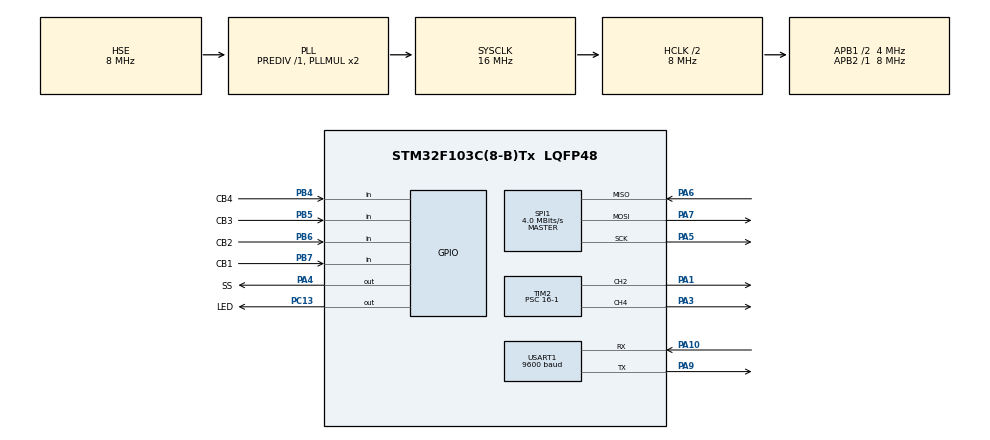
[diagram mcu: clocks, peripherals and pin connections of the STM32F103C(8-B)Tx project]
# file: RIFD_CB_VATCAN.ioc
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Mcu.Family=STM32F1
Mcu.Name=STM32F103C(8-B)Tx
Mcu.Package=LQFP48
NVIC.PriorityGroup=NVIC_PRIORITYGROUP_4
PA1.Signal=S_TIM2_CH2
PA10.Mode=Asynchronous
PA10.Signal=USART1_RX
PA13.Mode=Serial_Wire
PA13.Signal=SYS_JTMS-SWDIO
PA14.Mode=Serial_Wire
PA14.Signal=SYS_JTCK-SWCLK
PA3.Signal=S_TIM2_CH4
PA4.GPIO_Label=SS
PA4.Signal=GPIO_Output
PA5.Mode=Full_Duplex_Master
PA5.Signal=SPI1_SCK
PA6.Mode=Full_Duplex_Master
PA6.Signal=SPI1_MISO
PA7.Mode=Full_Duplex_Master
PA7.Signal=SPI1_MOSI
PA9.Mode=Asynchronous
PA9.Signal=USART1_TX
PB4.GPIO_Label=CB4
PB4.Signal=GPIO_Input
PB5.GPIO_Label=CB3
PB5.Signal=GPIO_Input
PB6.GPIO_Label=CB2
PB6.Signal=GPIO_Input
PB7.GPIO_Label=CB1
PB7.Signal=GPIO_Input
PC13-TAMPER-RTC.GPIO_Label=LED
PC13-TAMPER-RTC.Signal=GPIO_Output
PD0-OSC_IN.Mode=HSE-External-Oscillator
PD0-OSC_IN.Signal=RCC_OSC_IN
PD1-OSC_OUT.Mode=HSE-External-Oscillator
PD1-OSC_OUT.Signal=RCC_OSC_OUT
ProjectManager.HeapSize=0x200
ProjectManager.StackSize=0x400
ProjectManager.TargetToolchain=STM32CubeIDE
RCC.AHBCLKDivider=RCC_SYSCLK_DIV2
RCC.AHBFreq_Value=8000000
RCC.APB1CLKDivider=RCC_HCLK_DIV2
RCC.APB1Freq_Value=4000000
RCC.APB1TimFreq_Value=8000000
RCC.APB2Freq_Value=8000000
RCC.APB2TimFreq_Value=8000000
RCC.HCLKFreq_Value=8000000
RCC.PLLSourceVirtual=RCC_PLLSOURCE_HSE
RCC.SYSCLKFreq_VALUE=16000000
RCC.SYSCLKSource=RCC_SYSCLKSOURCE_PLLCLK
RCC.USBFreq_Value=16000000
SH.S_TIM2_CH2.0=TIM2_CH2,PWM Generation2 CH2
SH.S_TIM2_CH4.0=TIM2_CH4,PWM Generation4 CH4
SPI1.BaudRatePrescaler=SPI_BAUDRATEPRESCALER_2
SPI1.CalculateBaudRate=4.0 MBits/s
SPI1.Direction=SPI_DIRECTION_2LINES
SPI1.Mode=SPI_MODE_MASTER
SPI1.VirtualType=VM_MASTER
TIM2.Channel-PWM\ Generation2\ CH2=TIM_CHANNEL_2
TIM2.Channel-PWM\ Generation4\ CH4=TIM_CHANNEL_4
TIM2.Period=10000-1
TIM2.Prescaler=16-1
TIM4.Period=10000-1
TIM4.Prescaler=16-1
USART1.BaudRate=9600
USART1.VirtualMode=VM_ASYNC
VP_TIM2_VS_ClockSourceINT.Mode=Internal
VP_TIM4_VS_ClockSourceINT.Mode=Internal
board=custom

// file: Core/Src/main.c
/* USER CODE BEGIN Header */
/**
 ******************************************************************************
 * @file           : main.c
 * @brief          : Main program body
 ******************************************************************************
 * @attention
 *
 * <h2><center>&copy; Copyright (c) 2023 STMicroelectronics.
 * All rights reserved.</center></h2>
 *
 * This software component is licensed by ST under BSD 3-Clause license,
 * the "License"; You may not use this file except in compliance with the
 * License. You may obtain a copy of the License at:
 *                        opensource.org/licenses/BSD-3-Clause
 *
 ******************************************************************************
 */
/* USER CODE END Header */
#include "main.h"

/* USER CODE BEGIN Includes */
#include "rc522.h"
#include "stdio.h"
#include "string.h"
/* USER CODE END Includes */

SPI_HandleTypeDef hspi1;

TIM_HandleTypeDef htim2;
TIM_HandleTypeDef htim4;

UART_HandleTypeDef huart1;

void SystemClock_Config(void);
static void MX_GPIO_Init(void);
static void MX_SPI1_Init(void);
static void MX_TIM2_Init(void);
static void MX_USART1_UART_Init(void);
static void MX_TIM4_Init(void);

/* USER CODE BEGIN 0 */
uint8_t giatien, chotrong;
uint8_t cb1, cb2, cb3, cb4;
uint64_t t_prev, t_prev2, t_prev3;
uint8_t tt, status, status1;
uint8_t num;
uint8_t CardID[5];
uint8_t CardIDs[5];
uint8_t MyID1[5] = { 0x26, 0x91, 0x95, 0x94, 0x83 };
uint8_t MyID2[5] = { 0x26, 0x94, 0xb7, 0x7f, 0xb1 };
uint8_t MyID3[5] = { 0x26, 0xaa, 0x16, 0xad, 0xe2 };
uint8_t MyID4[5] = { 0x26, 0xb4, 0x1, 0x96, 0xe0 };
uint8_t bufferTx[20];
uint8_t the1, the2, the3, the4;
uint8_t the[4];
void servo_in_ON() {
	__HAL_TIM_SET_COMPARE(&htim2, TIM_CHANNEL_4, 750);  // duty cycle is 2ms
}
void servo_in_OFF() {
	__HAL_TIM_SET_COMPARE(&htim2, TIM_CHANNEL_4, 250);  // duty cycle is 1 ms
}
void servo_out_ON() {
	__HAL_TIM_SET_COMPARE(&htim2, TIM_CHANNEL_2, 750);  // duty cycle is 2ms
}
void servo_out_OFF() {
	__HAL_TIM_SET_COMPARE(&htim2, TIM_CHANNEL_2, 250);  // duty cycle is 1 ms
}
uint8_t the_s;
/* USER CODE END 0 */

int main(void) {

	/* MCU Configuration--------------------------------------------------------*/

	/* Reset of all peripherals, Initializes the Flash interface and the Systick. */
	HAL_Init();

	/* Configure the system clock */
	SystemClock_Config();

	/* Initialize all configured peripherals */
	MX_GPIO_Init();
	MX_SPI1_Init();
	MX_TIM2_Init();
	MX_USART1_UART_Init();
	MX_TIM4_Init();
	/* USER CODE BEGIN 2 */
	TM_MFRC522_Init();
	HAL_TIM_PWM_Start(&htim2, TIM_CHANNEL_2);
	HAL_TIM_PWM_Start(&htim2, TIM_CHANNEL_4);
	HAL_GPIO_WritePin(LED_GPIO_Port, LED_Pin, 1);
	t_prev = HAL_GetTick();
	t_prev2 = HAL_GetTick();
	t_prev3 = HAL_GetTick();
	/* USER CODE END 2 */

	/* Infinite loop */
	/* USER CODE BEGIN WHILE */
	while (1) {
//		servo_in_OFF();
//		servo_out_OFF();
//		HAL_Delay(1000);
//		servo_in_ON();
//		servo_out_ON();
//		HAL_Delay(1000);
		// xe dap 2000 xe may 5000 oto 7000
		cb1 = HAL_GPIO_ReadPin(CB1_GPIO_Port, CB1_Pin);
		cb2 = HAL_GPIO_ReadPin(CB2_GPIO_Port, CB2_Pin);
		cb3 = HAL_GPIO_ReadPin(CB3_GPIO_Port, CB3_Pin);
		cb4 = HAL_GPIO_ReadPin(CB4_GPIO_Port, CB4_Pin);
		if (HAL_GetTick() - t_prev3 >= 200) {
			chotrong = cb1 + cb2 + cb3 + cb4;
			sprintf((char*) bufferTx, "%d/%d/%d/%d/%d/%d/%d\n", the_s, cb1, cb2,
					cb3, cb4, giatien);
			HAL_UART_Transmit(&huart1, bufferTx, strlen((char*) bufferTx),
					1000);
			the_s = 0;
		}
		if (status == 0) {
			if (HAL_GetTick() - t_prev >= 200) {
				if (!TM_MFRC522_Request(PICC_REQIDL, CardID)) {
					if (!TM_MFRC522_Anticoll(CardID)) {
						HAL_GPIO_WritePin(LED_GPIO_Port, LED_Pin, 0);
						if (TM_MFRC522_Compare(CardID, MyID1) == MI_OK) {
							if (TM_MFRC522_Compare(CardID, MyID1) == MI_OK) {
								the1++;
								the_s = 1;
								if (the1 == 1) {
									status = 1;
									servo_in_ON();
								} else {
									giatien = 2;
									status1 = 1;
									servo_out_ON();
									the1 = 0;
								}
								tt = 1;
								num = 1;
							}
						}
						if (TM_MFRC522_Compare(CardID, MyID2) == MI_OK) {
							the2++;
							the_s = 2;
							if (the2 == 1) {
								status = 1;
								servo_in_ON();
							} else {
								giatien = 5;
								status1 = 1;
								the2 = 0;
								servo_out_ON();
							}
							tt = 1;
							num = 2;
						}
						if (TM_MFRC522_Compare(CardID, MyID3) == MI_OK) {
							the3++;
							the_s = 3;
							if (the3 == 1) {
								status = 1;
								servo_in_ON();
							} else {
								giatien = 7;
								status1 = 1;
								the3 = 0;
								servo_out_ON();
							}
							tt = 1;
							num = 3;
						}
						if (TM_MFRC522_Compare(CardID, MyID4) == MI_OK) {
							the4++;
							the_s = 4;
							if (the4 == 1) {
								status = 1;
								servo_in_ON();
							} else {
								giatien = 2;
								status1 = 1;
								the4 = 0;
								servo_out_ON();
							}
							tt = 1;
							num = 4;
						}
						memset(CardID, 0, strlen((char*) CardID));
						t_prev2 = HAL_GetTick();
					}
				}
				t_prev = HAL_GetTick();
			}
		}
		//servo_off:
		if (tt == 1) {
			if (HAL_GetTick() - t_prev2 >= 3000) {
				HAL_GPIO_WritePin(LED_GPIO_Port, LED_Pin, 1);
				if (status == 1) {
					servo_in_OFF();
					status = 0;
				} else if (status1 == 1) {
					giatien = 0;
					servo_out_OFF();
					status1 = 0;
				}
				tt = 0;
			}
		}
		/* USER CODE END WHILE */

	}
}

void SystemClock_Config(void) {
	RCC_OscInitTypeDef RCC_OscInitStruct = { 0 };
	RCC_ClkInitTypeDef RCC_ClkInitStruct = { 0 };

	/** Initializes the RCC Oscillators according to the specified parameters
	 * in the RCC_OscInitTypeDef structure.
	 */
	RCC_OscInitStruct.OscillatorType = RCC_OSCILLATORTYPE_HSE;
	RCC_OscInitStruct.HSEState = RCC_HSE_ON;
	RCC_OscInitStruct.HSEPredivValue = RCC_HSE_PREDIV_DIV1;
	RCC_OscInitStruct.HSIState = RCC_HSI_ON;
	RCC_OscInitStruct.PLL.PLLState = RCC_PLL_ON;
	RCC_OscInitStruct.PLL.PLLSource = RCC_PLLSOURCE_HSE;
	RCC_OscInitStruct.PLL.PLLMUL = RCC_PLL_MUL2;
	if (HAL_RCC_OscConfig(&RCC_OscInitStruct) != HAL_OK) {
		Error_Handler();
	}
	/** Initializes the CPU, AHB and APB buses clocks
	 */
	RCC_ClkInitStruct.ClockType = RCC_CLOCKTYPE_HCLK | RCC_CLOCKTYPE_SYSCLK
			| RCC_CLOCKTYPE_PCLK1 | RCC_CLOCKTYPE_PCLK2;
	RCC_ClkInitStruct.SYSCLKSource = RCC_SYSCLKSOURCE_PLLCLK;
	RCC_ClkInitStruct.AHBCLKDivider = RCC_SYSCLK_DIV2;
	RCC_ClkInitStruct.APB1CLKDivider = RCC_HCLK_DIV2;
	RCC_ClkInitStruct.APB2CLKDivider = RCC_HCLK_DIV1;

	if (HAL_RCC_ClockConfig(&RCC_ClkInitStruct, FLASH_LATENCY_0) != HAL_OK) {
		Error_Handler();
	}
}

static void MX_SPI1_Init(void) {

	/* SPI1 parameter configuration*/
	hspi1.Instance = SPI1;
	hspi1.Init.Mode = SPI_MODE_MASTER;
	hspi1.Init.Direction = SPI_DIRECTION_2LINES;
	hspi1.Init.DataSize = SPI_DATASIZE_8BIT;
	hspi1.Init.CLKPolarity = SPI_POLARITY_LOW;
	hspi1.Init.CLKPhase = SPI_PHASE_1EDGE;
	hspi1.Init.NSS = SPI_NSS_SOFT;
	hspi1.Init.BaudRatePrescaler = SPI_BAUDRATEPRESCALER_2;
	hspi1.Init.FirstBit = SPI_FIRSTBIT_MSB;
	hspi1.Init.TIMode = SPI_TIMODE_DISABLE;
	hspi1.Init.CRCCalculation = SPI_CRCCALCULATION_DISABLE;
	hspi1.Init.CRCPolynomial = 10;
	if (HAL_SPI_Init(&hspi1) != HAL_OK) {
		Error_Handler();
	}

}

static void MX_TIM2_Init(void) {

	TIM_ClockConfigTypeDef sClockSourceConfig = { 0 };
	TIM_MasterConfigTypeDef sMasterConfig = { 0 };
	TIM_OC_InitTypeDef sConfigOC = { 0 };

	htim2.Instance = TIM2;
	htim2.Init.Prescaler = 16 - 1;
	htim2.Init.CounterMode = TIM_COUNTERMODE_UP;
	htim2.Init.Period = 10000 - 1;
	htim2.Init.ClockDivision = TIM_CLOCKDIVISION_DIV1;
	htim2.Init.AutoReloadPreload = TIM_AUTORELOAD_PRELOAD_DISABLE;
	if (HAL_TIM_Base_Init(&htim2) != HAL_OK) {
		Error_Handler();
	}
	sClockSourceConfig.ClockSource = TIM_CLOCKSOURCE_INTERNAL;
	if (HAL_TIM_ConfigClockSource(&htim2, &sClockSourceConfig) != HAL_OK) {
		Error_Handler();
	}
	if (HAL_TIM_PWM_Init(&htim2) != HAL_OK) {
		Error_Handler();
	}
	sMasterConfig.MasterOutputTrigger = TIM_TRGO_RESET;
	sMasterConfig.MasterSlaveMode = TIM_MASTERSLAVEMODE_DISABLE;
	if (HAL_TIMEx_MasterConfigSynchronization(&htim2, &sMasterConfig)
			!= HAL_OK) {
		Error_Handler();
	}
	sConfigOC.OCMode = TIM_OCMODE_PWM1;
	sConfigOC.Pulse = 0;
	sConfigOC.OCPolarity = TIM_OCPOLARITY_HIGH;
	sConfigOC.OCFastMode = TIM_OCFAST_DISABLE;
	if (HAL_TIM_PWM_ConfigChannel(&htim2, &sConfigOC, TIM_CHANNEL_2)
			!= HAL_OK) {
		Error_Handler();
	}
	if (HAL_TIM_PWM_ConfigChannel(&htim2, &sConfigOC, TIM_CHANNEL_4)
			!= HAL_OK) {
		Error_Handler();
	}
	HAL_TIM_MspPostInit(&htim2);

}

static void MX_TIM4_Init(void) {

	TIM_ClockConfigTypeDef sClockSourceConfig = { 0 };
	TIM_MasterConfigTypeDef sMasterConfig = { 0 };

	htim4.Instance = TIM4;
	htim4.Init.Prescaler = 16 - 1;
	htim4.Init.CounterMode = TIM_COUNTERMODE_UP;
	htim4.Init.Period = 10000 - 1;
	htim4.Init.ClockDivision = TIM_CLOCKDIVISION_DIV1;
	htim4.Init.AutoReloadPreload = TIM_AUTORELOAD_PRELOAD_DISABLE;
	if (HAL_TIM_Base_Init(&htim4) != HAL_OK) {
		Error_Handler();
	}
	sClockSourceConfig.ClockSource = TIM_CLOCKSOURCE_INTERNAL;
	if (HAL_TIM_ConfigClockSource(&htim4, &sClockSourceConfig) != HAL_OK) {
		Error_Handler();
	}
	sMasterConfig.MasterOutputTrigger = TIM_TRGO_RESET;
	sMasterConfig.MasterSlaveMode = TIM_MASTERSLAVEMODE_DISABLE;
	if (HAL_TIMEx_MasterConfigSynchronization(&htim4, &sMasterConfig)
			!= HAL_OK) {
		Error_Handler();
	}

}

static void MX_USART1_UART_Init(void) {

	huart1.Instance = USART1;
	huart1.Init.BaudRate = 9600;
	huart1.Init.WordLength = UART_WORDLENGTH_8B;
	huart1.Init.StopBits = UART_STOPBITS_1;
	huart1.Init.Parity = UART_PARITY_NONE;
	huart1.Init.Mode = UART_MODE_TX_RX;
	huart1.Init.HwFlowCtl = UART_HWCONTROL_NONE;
	huart1.Init.OverSampling = UART_OVERSAMPLING_16;
	if (HAL_UART_Init(&huart1) != HAL_OK) {
		Error_Handler();
	}

}

static void MX_GPIO_Init(void) {
	GPIO_InitTypeDef GPIO_InitStruct = { 0 };

	/* GPIO Ports Clock Enable */
	__HAL_RCC_GPIOC_CLK_ENABLE();
	__HAL_RCC_GPIOD_CLK_ENABLE();
	__HAL_RCC_GPIOA_CLK_ENABLE();
	__HAL_RCC_GPIOB_CLK_ENABLE();

	/*Configure GPIO pin Output Level */
	HAL_GPIO_WritePin(LED_GPIO_Port, LED_Pin, GPIO_PIN_RESET);

	/*Configure GPIO pin Output Level */
	HAL_GPIO_WritePin(SS_GPIO_Port, SS_Pin, GPIO_PIN_RESET);

	/*Configure GPIO pin : LED_Pin */
	GPIO_InitStruct.Pin = LED_Pin;
	GPIO_InitStruct.Mode = GPIO_MODE_OUTPUT_PP;
	GPIO_InitStruct.Pull = GPIO_NOPULL;
	GPIO_InitStruct.Speed = GPIO_SPEED_FREQ_LOW;
	HAL_GPIO_Init(LED_GPIO_Port, &GPIO_InitStruct);

	/*Configure GPIO pin : SS_Pin */
	GPIO_InitStruct.Pin = SS_Pin;
	GPIO_InitStruct.Mode = GPIO_MODE_OUTPUT_PP;
	GPIO_InitStruct.Pull = GPIO_NOPULL;
	GPIO_InitStruct.Speed = GPIO_SPEED_FREQ_LOW;
	HAL_GPIO_Init(SS_GPIO_Port, &GPIO_InitStruct);

	/*Configure GPIO pins : CB4_Pin CB3_Pin CB2_Pin CB1_Pin */
	GPIO_InitStruct.Pin = CB4_Pin | CB3_Pin | CB2_Pin | CB1_Pin;
	GPIO_InitStruct.Mode = GPIO_MODE_INPUT;
	GPIO_InitStruct.Pull = GPIO_NOPULL;
	HAL_GPIO_Init(GPIOB, &GPIO_InitStruct);

}

void Error_Handler(void) {
	__disable_irq();
	while (1) {
	}
}

/************************ (C) COPYRIGHT STMicroelectronics *****END OF FILE****/
